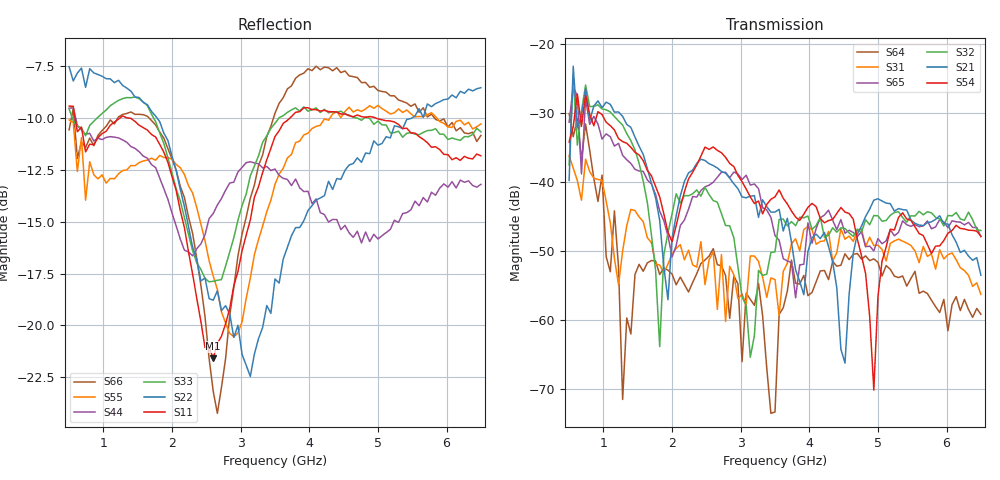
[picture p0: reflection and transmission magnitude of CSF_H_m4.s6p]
!Keysight Technologies,M9804A,MY58100912,A.14.10.03
!Date: Thursday, April 27, 2023 10:28:33
!Correction: S11(C  6-Port  )
!S12(C  6-Port  )
!S13(C  6-Port  )
!S14(C  6-Port  )
!S15(C  6-Port  )
!S16(C  6-Port  )
!S21(C  6-Port  )
!S22(C  6-Port  )
!S23(C  6-Port  )
!S24(C  6-Port  )
!S25(C  6-Port  )
!S26(C  6-Port  )
!S31(C  6-Port  )
!S32(C  6-Port  )
!S33(C  6-Port  )
!S34(C  6-Port  )
!S35(C  6-Port  )
!S36(C  6-Port  )
!S41(C  6-Port  )
!S42(C  6-Port  )
!S43(C  6-Port  )
!S44(C  6-Port  )
!S45(C  6-Port  )
!S46(C  6-Port  )
!S51(C  6-Port  )
!S52(C  6-Port  )
!S53(C  6-Port  )
!S54(C  6-Port  )
!S55(C  6-Port  )
!S56(C  6-Port  )
!S61(C  6-Port  )
!S62(C  6-Port  )
!S63(C  6-Port  )
!S64(C  6-Port  )
!S65(C  6-Port  )
!S66(C  6-Port  )
!S6P File: Measurement: :
# Hz S  RI  R 50
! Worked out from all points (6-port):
!   101 points, 500 MHz to 6.5 GHz, reference 50 ohm
!   strongest paths, dB at 500 MHz, 2 GHz, 3.5 GHz, 5 GHz, 6.5 GHz:
!     S54: -34.2, -48.7, -42.2, -56.6, -47.9
!     S21: -39.8, -48.1, -44.4, -42.4, -53.5
!     S32: -37.5, -44.6, -50.1, -44.9, -47.0
!     S65: -31.4, -50.8, -47.8, -48.2, -47.9
!     S31: -36.2, -50.4, -54.1, -49.2, -56.3
!     S64: -30.1, -53.3, -73.3, -51.6, -59.2
!   lowest |S11| = -21.6 dB at 2.6 GHz (marker M1), VSWR 1.18, Z = 42.6 + j2.05 ohm
!   |S11| at or under -10 dB: 588.1 MHz to 1.236 GHz (647.5 MHz wide, 71 % of centre); 1.387 GHz to 3.714 GHz (2.326 GHz wide, 91.2 % of centre); 4.976 GHz to end of sweep
